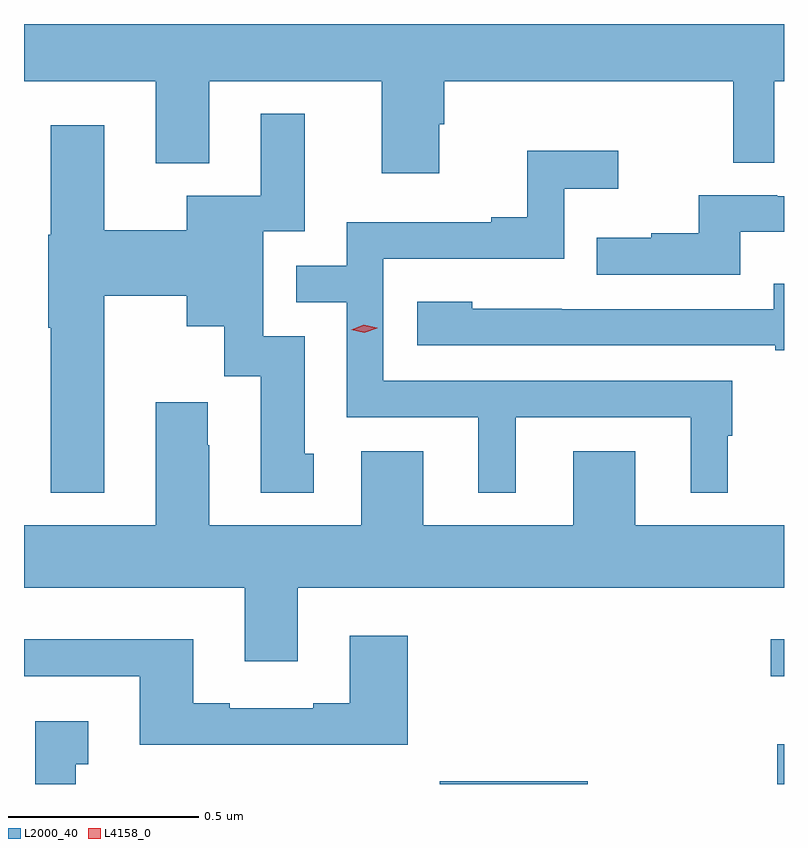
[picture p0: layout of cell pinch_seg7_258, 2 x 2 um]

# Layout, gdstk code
import gdstk
lib = gdstk.Library(unit=1e-6, precision=1e-09)
def R(c, l, rs):  # rectangles x0, y0, x1, y1
    for r in rs: c.add(gdstk.rectangle(r[:2], r[2:], *l))
def P(c, l, *ps):  # polygons
    for p in ps: c.add(gdstk.Polygon(p, *l))
L2000_40 = (2000, 40)
L4158_0 = (4158, 0)

pinch_seg7_258 = lib.new_cell('pinch_seg7_258')
R(pinch_seg7_258, L2000_40, [(826.904,1014.751,827.293,1014.758), (827.792,1014.751,827.81,1014.856), (827.775,1015.035,827.81,1015.132)])
P(pinch_seg7_258, L2000_40, [(827.676,1016.386),(827.784,1016.386),(827.784,1016.6),(827.81,1016.6),(827.81,1016.751),(825.81,1016.751),(825.81,1016.6),(826.157,1016.6),(826.157,1016.384),(826.297,1016.384),(826.297,1016.6),(826.751,1016.6),(826.751,1016.358),(826.903,1016.358),(826.903,1016.487),(826.916,1016.487),(826.916,1016.6),(827.676,1016.6)],
  [(826.021,1016.036),(826.238,1016.036),(826.238,1015.955),(826.337,1015.955),(826.337,1015.824),(826.433,1015.824),(826.433,1015.518),(826.573,1015.518),(826.573,1015.62),(826.549,1015.62),(826.549,1015.929),(826.44,1015.929),(826.44,1016.205),(826.549,1016.205),(826.549,1016.515),(826.433,1016.515),(826.433,1016.299),(826.238,1016.299),(826.238,1016.208),(826.021,1016.208),(826.021,1016.485),(825.881,1016.485),(825.881,1016.196),(825.874,1016.196),(825.874,1015.952),(825.881,1015.952),(825.881,1015.517),(826.021,1015.517)],
  [(827.104,1015.716),(827.564,1015.716),(827.564,1015.517),(827.662,1015.517),(827.662,1015.668),(827.674,1015.668),(827.674,1015.812),(826.755,1015.812),(826.755,1016.133),(827.232,1016.133),(827.232,1016.318),(827.374,1016.318),(827.374,1016.417),(827.134,1016.417),(827.134,1016.242),(827.039,1016.242),(827.039,1016.229),(826.659,1016.229),(826.659,1016.115),(826.526,1016.115),(826.526,1016.019),(826.659,1016.019),(826.659,1015.716),(827.006,1015.716),(827.006,1015.517),(827.104,1015.517)],
  [(827.695,1016.204),(827.81,1016.204),(827.81,1016.298),(827.792,1016.298),(827.792,1016.301),(827.585,1016.301),(827.585,1016.2),(827.461,1016.2),(827.461,1016.188),(827.317,1016.188),(827.317,1016.091),(827.695,1016.091)],
  [(827.81,1016.068),(827.783,1016.068),(827.783,1016.001),(827.225,1016.001),(827.225,1016.002),(826.989,1016.002),(826.989,1016.02),(826.845,1016.02),(826.845,1015.905),(827.787,1015.905),(827.787,1015.893),(827.81,1015.893)],
  [(826.531,1015.268),(827.81,1015.268),(827.81,1015.432),(827.419,1015.432),(827.419,1015.627),(827.255,1015.627),(827.255,1015.432),(826.861,1015.432),(826.861,1015.627),(826.697,1015.627),(826.697,1015.432),(826.297,1015.432),(826.297,1015.643),(826.294,1015.643),(826.294,1015.756),(826.157,1015.756),(826.157,1015.432),(825.81,1015.432),(825.81,1015.268),(826.391,1015.268),(826.391,1015.074),(826.531,1015.074)],
  [(826.82,1015.141),(826.667,1015.141),(826.667,1014.964),(826.571,1014.964),(826.571,1014.951),(826.351,1014.951),(826.351,1014.964),(826.255,1014.964),(826.255,1015.132),(825.81,1015.132),(825.81,1015.035),(826.115,1015.035),(826.115,1014.854),(826.82,1014.854)],
  [(825.946,1014.803),(825.979,1014.803),(825.979,1014.916),(825.839,1014.916),(825.839,1014.751),(825.946,1014.751)])
P(pinch_seg7_258, L4158_0, [(826.706,1015.939),(826.671,1015.946),(826.67,1015.946),(826.671,1015.946),(826.704,1015.959),(826.739,1015.952),(826.74,1015.951),(826.739,1015.951)])

lib.write_gds('pinch_seg7_258.gds')
